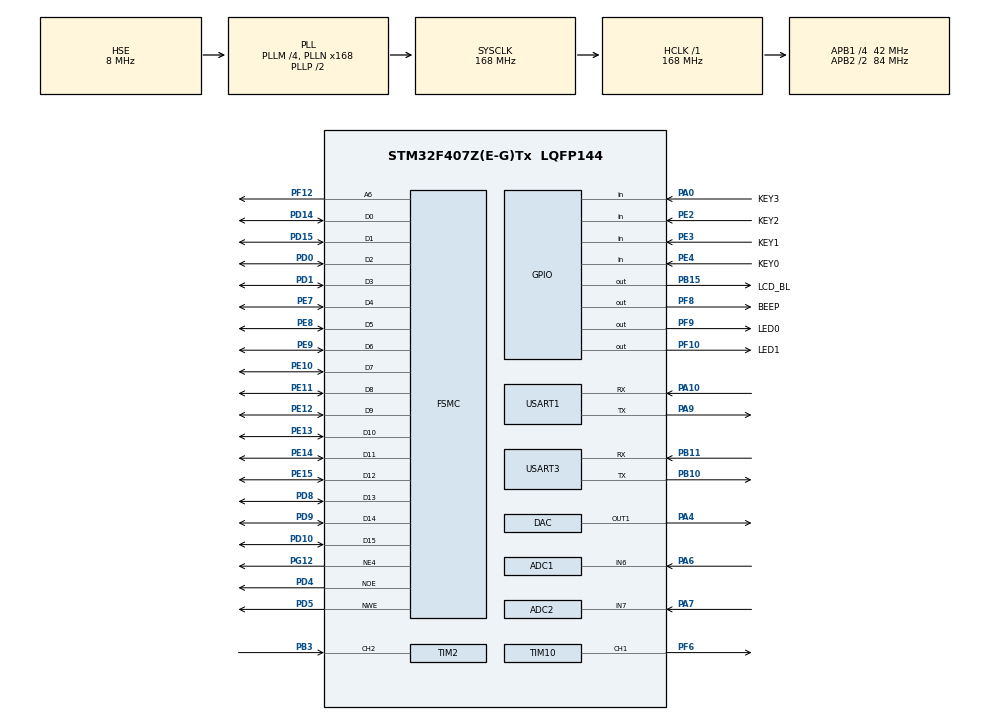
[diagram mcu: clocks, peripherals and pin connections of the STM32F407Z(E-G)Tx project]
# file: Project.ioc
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ADC1.Channel-0\#ChannelRegularConversion=ADC_CHANNEL_6
ADC1.ExternalTrigConv=ADC_EXTERNALTRIGCONV_T3_TRGO
ADC1.NbrOfConversionFlag=1
ADC1.Rank-0\#ChannelRegularConversion=1
ADC1.SamplingTime-0\#ChannelRegularConversion=ADC_SAMPLETIME_3CYCLES
ADC1.master=1
ADC2.Channel-0\#ChannelRegularConversion=ADC_CHANNEL_7
ADC2.ExternalTrigConv=ADC_EXTERNALTRIGCONV_T3_TRGO
ADC2.NbrOfConversionFlag=1
ADC2.Rank-0\#ChannelRegularConversion=1
ADC2.SamplingTime-0\#ChannelRegularConversion=ADC_SAMPLETIME_3CYCLES
DAC.DAC_Trigger=DAC_TRIGGER_T6_TRGO
Dma.ADC1.4.Direction=DMA_PERIPH_TO_MEMORY
Dma.ADC1.4.FIFOMode=DMA_FIFOMODE_DISABLE
Dma.ADC1.4.Instance=DMA2_Stream0
Dma.ADC1.4.MemDataAlignment=DMA_MDATAALIGN_HALFWORD
Dma.ADC1.4.MemInc=DMA_MINC_ENABLE
Dma.ADC1.4.Mode=DMA_NORMAL
Dma.ADC1.4.PeriphDataAlignment=DMA_PDATAALIGN_HALFWORD
Dma.ADC1.4.PeriphInc=DMA_PINC_DISABLE
Dma.ADC1.4.Priority=DMA_PRIORITY_LOW
Dma.ADC2.5.Direction=DMA_PERIPH_TO_MEMORY
Dma.ADC2.5.FIFOMode=DMA_FIFOMODE_DISABLE
Dma.ADC2.5.Instance=DMA2_Stream2
Dma.ADC2.5.MemDataAlignment=DMA_MDATAALIGN_HALFWORD
Dma.ADC2.5.MemInc=DMA_MINC_ENABLE
Dma.ADC2.5.Mode=DMA_NORMAL
Dma.ADC2.5.PeriphDataAlignment=DMA_PDATAALIGN_HALFWORD
Dma.ADC2.5.PeriphInc=DMA_PINC_DISABLE
Dma.ADC2.5.Priority=DMA_PRIORITY_LOW
Dma.DAC1.6.Direction=DMA_MEMORY_TO_PERIPH
Dma.DAC1.6.FIFOMode=DMA_FIFOMODE_DISABLE
Dma.DAC1.6.Instance=DMA1_Stream5
Dma.DAC1.6.MemDataAlignment=DMA_MDATAALIGN_HALFWORD
Dma.DAC1.6.MemInc=DMA_MINC_ENABLE
Dma.DAC1.6.Mode=DMA_CIRCULAR
Dma.DAC1.6.PeriphDataAlignment=DMA_PDATAALIGN_HALFWORD
Dma.DAC1.6.PeriphInc=DMA_PINC_DISABLE
Dma.DAC1.6.Priority=DMA_PRIORITY_LOW
Dma.Request0=USART1_TX
Dma.Request1=USART1_RX
Dma.Request2=USART3_TX
Dma.Request3=USART3_RX
Dma.Request4=ADC1
Dma.Request5=ADC2
Dma.Request6=DAC1
Dma.USART1_RX.1.Direction=DMA_PERIPH_TO_MEMORY
Dma.USART1_RX.1.FIFOMode=DMA_FIFOMODE_DISABLE
Dma.USART1_RX.1.Instance=DMA2_Stream5
Dma.USART1_RX.1.MemDataAlignment=DMA_MDATAALIGN_BYTE
Dma.USART1_RX.1.MemInc=DMA_MINC_ENABLE
Dma.USART1_RX.1.Mode=DMA_NORMAL
Dma.USART1_RX.1.PeriphDataAlignment=DMA_PDATAALIGN_BYTE
Dma.USART1_RX.1.PeriphInc=DMA_PINC_DISABLE
Dma.USART1_RX.1.Priority=DMA_PRIORITY_LOW
Dma.USART1_TX.0.Direction=DMA_MEMORY_TO_PERIPH
Dma.USART1_TX.0.FIFOMode=DMA_FIFOMODE_DISABLE
Dma.USART1_TX.0.Instance=DMA2_Stream7
Dma.USART1_TX.0.MemDataAlignment=DMA_MDATAALIGN_BYTE
Dma.USART1_TX.0.MemInc=DMA_MINC_ENABLE
Dma.USART1_TX.0.Mode=DMA_NORMAL
Dma.USART1_TX.0.PeriphDataAlignment=DMA_PDATAALIGN_BYTE
Dma.USART1_TX.0.PeriphInc=DMA_PINC_DISABLE
Dma.USART1_TX.0.Priority=DMA_PRIORITY_LOW
Dma.USART3_RX.3.Direction=DMA_PERIPH_TO_MEMORY
Dma.USART3_RX.3.FIFOMode=DMA_FIFOMODE_DISABLE
Dma.USART3_RX.3.Instance=DMA1_Stream1
Dma.USART3_RX.3.MemDataAlignment=DMA_MDATAALIGN_BYTE
Dma.USART3_RX.3.MemInc=DMA_MINC_ENABLE
Dma.USART3_RX.3.Mode=DMA_NORMAL
Dma.USART3_RX.3.PeriphDataAlignment=DMA_PDATAALIGN_BYTE
Dma.USART3_RX.3.PeriphInc=DMA_PINC_DISABLE
Dma.USART3_RX.3.Priority=DMA_PRIORITY_LOW
Dma.USART3_TX.2.Direction=DMA_MEMORY_TO_PERIPH
Dma.USART3_TX.2.FIFOMode=DMA_FIFOMODE_DISABLE
Dma.USART3_TX.2.Instance=DMA1_Stream3
Dma.USART3_TX.2.MemDataAlignment=DMA_MDATAALIGN_BYTE
Dma.USART3_TX.2.MemInc=DMA_MINC_ENABLE
Dma.USART3_TX.2.Mode=DMA_NORMAL
Dma.USART3_TX.2.PeriphDataAlignment=DMA_PDATAALIGN_BYTE
Dma.USART3_TX.2.PeriphInc=DMA_PINC_DISABLE
Dma.USART3_TX.2.Priority=DMA_PRIORITY_LOW
FSMC.ExtendedAddressSetupTime1=2
FSMC.ExtendedDataSetupTime1=2
FSMC.ExtendedMode1=FSMC_EXTENDED_MODE_ENABLE
Mcu.Family=STM32F4
Mcu.Name=STM32F407Z(E-G)Tx
Mcu.Package=LQFP144
NVIC.DMA1_Stream1_IRQn=true\:0\:0\:false\:false\:true\:false\:true\:true
NVIC.DMA1_Stream3_IRQn=true\:0\:0\:false\:false\:true\:false\:true\:true
NVIC.DMA1_Stream5_IRQn=true\:0\:0\:false\:false\:true\:false\:true\:true
NVIC.DMA2_Stream0_IRQn=true\:0\:0\:false\:false\:true\:false\:true\:true
NVIC.DMA2_Stream2_IRQn=true\:0\:0\:false\:false\:true\:false\:true\:true
NVIC.DMA2_Stream5_IRQn=true\:0\:0\:false\:false\:true\:false\:true\:true
NVIC.DMA2_Stream7_IRQn=true\:0\:0\:false\:false\:true\:false\:true\:true
NVIC.PriorityGroup=NVIC_PRIORITYGROUP_4
NVIC.TIM1_TRG_COM_TIM11_IRQn=true\:0\:0\:false\:false\:true\:true\:true\:true
NVIC.USART1_IRQn=true\:0\:0\:false\:false\:true\:false\:true\:true
NVIC.USART3_IRQn=true\:0\:0\:false\:false\:true\:false\:true\:true
PA0-WKUP.GPIO_Label=KEY3
PA0-WKUP.GPIO_PuPd=GPIO_PULLDOWN
PA0-WKUP.Signal=GPIO_Input
PA10.Mode=Asynchronous
PA10.Signal=USART1_RX
PA13.Mode=Serial_Wire
PA13.Signal=SYS_JTMS-SWDIO
PA14.Mode=Serial_Wire
PA14.Signal=SYS_JTCK-SWCLK
PA4.Signal=COMP_DAC1_group
PA6.Signal=ADCx_IN6
PA7.Signal=ADCx_IN7
PA9.Mode=Asynchronous
PA9.Signal=USART1_TX
PB10.Mode=Asynchronous
PB10.Signal=USART3_TX
PB11.Mode=Asynchronous
PB11.Signal=USART3_RX
PB15.GPIO_Label=LCD_BL
PB15.Signal=GPIO_Output
PB3.Signal=S_TIM2_CH2
PD0.Signal=FSMC_D2_DA2
PD1.Signal=FSMC_D3_DA3
PD10.Signal=FSMC_D15_DA15
PD14.Signal=FSMC_D0_DA0
PD15.Signal=FSMC_D1_DA1
PD4.Signal=FSMC_NOE
PD5.Signal=FSMC_NWE
PD8.Signal=FSMC_D13_DA13
PD9.Signal=FSMC_D14_DA14
PE10.Signal=FSMC_D7_DA7
PE11.Signal=FSMC_D8_DA8
PE12.Signal=FSMC_D9_DA9
PE13.Signal=FSMC_D10_DA10
PE14.Signal=FSMC_D11_DA11
PE15.Signal=FSMC_D12_DA12
PE2.GPIO_Label=KEY2
PE2.GPIO_PuPd=GPIO_PULLUP
PE2.Signal=GPIO_Input
PE3.GPIO_Label=KEY1
PE3.GPIO_PuPd=GPIO_PULLUP
PE3.Signal=GPIO_Input
PE4.GPIO_Label=KEY0
PE4.GPIO_PuPd=GPIO_PULLUP
PE4.Signal=GPIO_Input
PE7.Signal=FSMC_D4_DA4
PE8.Signal=FSMC_D5_DA5
PE9.Signal=FSMC_D6_DA6
PF10.GPIO_Label=LED1
PF10.PinState=GPIO_PIN_SET
PF10.Signal=GPIO_Output
PF12.Signal=FSMC_A6
PF6.Signal=S_TIM10_CH1
PF8.GPIO_Label=BEEP
PF8.Signal=GPIO_Output
PF9.GPIO_Label=LED0
PF9.PinState=GPIO_PIN_SET
PF9.Signal=GPIO_Output
PG12.Mode=NorPsramChipSelect4_1
PG12.Signal=FSMC_NE4
PH0-OSC_IN.Mode=HSE-External-Oscillator
PH0-OSC_IN.Signal=RCC_OSC_IN
PH1-OSC_OUT.Mode=HSE-External-Oscillator
PH1-OSC_OUT.Signal=RCC_OSC_OUT
ProjectManager.HeapSize=0x200
ProjectManager.StackSize=0x400
ProjectManager.TargetToolchain=MDK-ARM V5.32
RCC.48MHZClocksFreq_Value=84000000
RCC.AHBFreq_Value=168000000
RCC.APB1CLKDivider=RCC_HCLK_DIV4
RCC.APB1Freq_Value=42000000
RCC.APB1TimFreq_Value=84000000
RCC.APB2CLKDivider=RCC_HCLK_DIV2
RCC.APB2Freq_Value=84000000
RCC.APB2TimFreq_Value=168000000
RCC.CortexFreq_Value=168000000
RCC.HCLKFreq_Value=168000000
RCC.HSE_VALUE=8000000
RCC.HSI_VALUE=16000000
RCC.LSE_VALUE=32768
RCC.PLLM=4
RCC.PLLN=168
RCC.PLLSourceVirtual=RCC_PLLSOURCE_HSE
RCC.SYSCLKFreq_VALUE=168000000
RCC.SYSCLKSource=RCC_SYSCLKSOURCE_PLLCLK
RCC.VCOOutputFreq_Value=336000000
SH.ADCx_IN6.0=ADC1_IN6,IN6
SH.ADCx_IN7.0=ADC2_IN7,IN7
SH.COMP_DAC1_group.0=DAC_OUT1,DAC_OUT1
SH.FSMC_A6.0=FSMC_A6,A6_1
SH.FSMC_D0_DA0.0=FSMC_D0,16b-d1
SH.FSMC_D10_DA10.0=FSMC_D10,16b-d1
SH.FSMC_D11_DA11.0=FSMC_D11,16b-d1
SH.FSMC_D12_DA12.0=FSMC_D12,16b-d1
SH.FSMC_D13_DA13.0=FSMC_D13,16b-d1
SH.FSMC_D14_DA14.0=FSMC_D14,16b-d1
SH.FSMC_D15_DA15.0=FSMC_D15,16b-d1
SH.FSMC_D1_DA1.0=FSMC_D1,16b-d1
SH.FSMC_D2_DA2.0=FSMC_D2,16b-d1
SH.FSMC_D3_DA3.0=FSMC_D3,16b-d1
SH.FSMC_D4_DA4.0=FSMC_D4,16b-d1
SH.FSMC_D5_DA5.0=FSMC_D5,16b-d1
SH.FSMC_D6_DA6.0=FSMC_D6,16b-d1
SH.FSMC_D7_DA7.0=FSMC_D7,16b-d1
SH.FSMC_D8_DA8.0=FSMC_D8,16b-d1
SH.FSMC_D9_DA9.0=FSMC_D9,16b-d1
SH.FSMC_NOE.0=FSMC_NOE,Lcd1
SH.FSMC_NWE.0=FSMC_NWE,Lcd1
SH.S_TIM10_CH1.0=TIM10_CH1,PWM Generation1 CH1
SH.S_TIM2_CH2.0=TIM2_CH2,PWM_Input_2
TIM10.Channel=TIM_CHANNEL_1
TIM10.Period=1999
TIM10.Prescaler=167
TIM11.Channel=TIM_CHANNEL_1
TIM11.Period=9999
TIM11.Prescaler=167
TIM2.ICPolarity_1=TIM_INPUTCHANNELPOLARITY_FALLING
TIM2.Prescaler=83
TIM3.Period=99
TIM3.Prescaler=83
TIM3.TIM_MasterOutputTrigger=TIM_TRGO_UPDATE
TIM6.AutoReloadPreload=TIM_AUTORELOAD_PRELOAD_ENABLE
TIM6.Period=999
TIM6.Prescaler=13
TIM6.TIM_MasterOutputTrigger=TIM_TRGO_UPDATE
USART1.VirtualMode=VM_ASYNC
USART3.VirtualMode=VM_ASYNC
VP_TIM10_VS_ClockSourceINT.Mode=Enable_Timer
VP_TIM11_VS_ClockSourceINT.Mode=Enable_Timer
VP_TIM11_VS_no_output1.Mode=Output Compare1 No Output
VP_TIM2_VS_ClockSourceINT.Mode=Internal
VP_TIM3_VS_ClockSourceINT.Mode=Internal
VP_TIM6_VS_ClockSourceINT.Mode=Enable_Timer
board=custom

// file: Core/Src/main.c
/* USER CODE BEGIN Header */
/**
  ******************************************************************************
  * @file           : main.c
  * @brief          : Main program body
  ******************************************************************************
  * @attention
  *
  * Copyright (c) 2024 STMicroelectronics.
  * All rights reserved.
  *
  * This software is licensed under terms that can be found in the LICENSE file
  * in the root directory of this software component.
  * If no LICENSE file comes with this software, it is provided AS-IS.
  *
  ******************************************************************************
  */
/* USER CODE END Header */
#include "main.h"
#include "adc.h"
#include "dac.h"
#include "dma.h"
#include "tim.h"
#include "usart.h"
#include "gpio.h"
#include "fsmc.h"

/* USER CODE BEGIN Includes */
#include "lcd.h"

/* USER CODE END Includes */

/* USER CODE BEGIN PD */
#define VREF			3300

/* USER CODE END PD */

/* USER CODE BEGIN PV */
uint8_t workState = 0;
uint16_t workCnt = 0;
myUART_HandleTypeDef UART_Debug = { .huart = &huart1, .RxMsgUsed = true };
myUART_HandleTypeDef UART_Slave = { .huart = &huart3, .RxMsgUsed = true };
myPWM_HandleTypeDef myPWM = { .htim = &htim10, .Channel = TIM_CHANNEL_1, .idx = 0 };
myPWMI_HandleTypeDef myPWMI = { .htim = &htim2, .Channel = TIM_CHANNEL_2 };
myADC_HandleTypeDef myADC = { .hadc_ch1 = &hadc2, .hadc_ch2 = &hadc1, .htim = &htim3, .ConvFinish = false };
myDAC_HandleTypeDef myDAC = { .hdac = &hdac, .htim = &htim6, .Channel = DAC_CHANNEL_1, .idx = 0 };

/* USER CODE END PV */

void SystemClock_Config(void);
/* USER CODE BEGIN PFP */
void Key_Process(uint8_t keyNum);
void ADC_Process(void);

/* USER CODE END PFP */

/* USER CODE BEGIN 0 */
void HAL_UARTEx_RxEventCallback(UART_HandleTypeDef *huart, uint16_t Size)
{
	if (huart == UART_Debug.huart)
	{
		if (UART_Debug.RxMsgUsed == true)
		{
			myUART_Receive_DMA(&UART_Debug);
			if (workState != 6)
				myUART_Transmit_DMA(&UART_Debug, "RxMsg: %s", UART_Debug.UART_RxMsg);
			else /* if (workState == 6) */
			{
				LCD_ClearArea(40, 200, 720, 120, WHITE);
				LCD_ShowString(40, 200, 32, BLACK, WHITE, "RxMsg_UART1: %s", UART_Debug.UART_RxMsg);
			}
		}
		myUART_Start_Receive_DMA(&UART_Debug);
	}
	else if (workState == 6 && huart == UART_Slave.huart)
	{
		if (UART_Slave.RxMsgUsed == true)
		{
			myUART_Receive_DMA(&UART_Slave);
			LCD_ClearArea(40, 200, 720, 120, WHITE);
			LCD_ShowString(40, 200, 32, BLACK, WHITE, "RxMsg_UART3: %s", UART_Slave.UART_RxMsg);
		}
		myUART_Start_Receive_DMA(&UART_Slave);
	}
}

void HAL_TIM_PeriodElapsedCallback(TIM_HandleTypeDef *htim)
{
	if (htim == &htim11)
	{
		Key_Process(Key_Read());
	}
}

void HAL_ADC_ConvCpltCallback(ADC_HandleTypeDef *hadc)
{
	static uint8_t tmp_adc_conv_cplt = 0;
	if (++tmp_adc_conv_cplt == 2)
	{
		tmp_adc_conv_cplt = 0;
		myADC.ConvFinish = true;
		myADC_Stop_DMA(&myADC);
	}
}

/* USER CODE END 0 */

int main(void)
{

  /* MCU Configuration--------------------------------------------------------*/

  /* Reset of all peripherals, Initializes the Flash interface and the Systick. */
  HAL_Init();

  /* Configure the system clock */
  SystemClock_Config();

  /* Initialize all configured peripherals */
  MX_GPIO_Init();
  MX_DMA_Init();
  MX_FSMC_Init();
  MX_USART1_UART_Init();
  MX_USART3_UART_Init();
  MX_TIM11_Init();
  MX_TIM10_Init();
  MX_TIM2_Init();
  MX_TIM3_Init();
  MX_TIM6_Init();
  MX_ADC1_Init();
  MX_ADC2_Init();
  MX_DAC_Init();
  /* USER CODE BEGIN 2 */
  LCD_Init();
  LCD_ShowString(40, 80, 32, RED, WHITE, "Wait to confirm: workState = %d.", workState);
  LCD_ShowString(40, 120, 32, WHITE, ORANGE, " KEY0         KEY1           KEY2 ");
  LCD_ShowString(136, 120, 32, ORANGE, WHITE, " CHECK ");
  LCD_ShowString(344, 120, 32, ORANGE, WHITE, " STATE++ ");
  LCD_ShowString(584, 120, 32, ORANGE, WHITE, " STATE-- ");

  myUART_Transmit_DMA(&UART_Debug, "F407ZGT6 UART1 connected.\n");
  myUART_Start_Receive_DMA(&UART_Debug);

  HAL_TIM_Base_Start_IT(&htim11);

  /* USER CODE END 2 */

  /* Infinite loop */
  /* USER CODE BEGIN WHILE */
  while (1)
  {
	if (myADC.ConvFinish == true)
	{
		myADC.ConvFinish = false;
		ADC_Process();
	}

    /* USER CODE END WHILE */

  }
}

void SystemClock_Config(void)
{
  RCC_OscInitTypeDef RCC_OscInitStruct = {0};
  RCC_ClkInitTypeDef RCC_ClkInitStruct = {0};

  /** Configure the main internal regulator output voltage
  */
  __HAL_RCC_PWR_CLK_ENABLE();
  __HAL_PWR_VOLTAGESCALING_CONFIG(PWR_REGULATOR_VOLTAGE_SCALE1);

  /** Initializes the RCC Oscillators according to the specified parameters
  * in the RCC_OscInitTypeDef structure.
  */
  RCC_OscInitStruct.OscillatorType = RCC_OSCILLATORTYPE_HSE;
  RCC_OscInitStruct.HSEState = RCC_HSE_ON;
  RCC_OscInitStruct.PLL.PLLState = RCC_PLL_ON;
  RCC_OscInitStruct.PLL.PLLSource = RCC_PLLSOURCE_HSE;
  RCC_OscInitStruct.PLL.PLLM = 4;
  RCC_OscInitStruct.PLL.PLLN = 168;
  RCC_OscInitStruct.PLL.PLLP = RCC_PLLP_DIV2;
  RCC_OscInitStruct.PLL.PLLQ = 4;
  if (HAL_RCC_OscConfig(&RCC_OscInitStruct) != HAL_OK)
  {
    Error_Handler();
  }

  /** Initializes the CPU, AHB and APB buses clocks
  */
  RCC_ClkInitStruct.ClockType = RCC_CLOCKTYPE_HCLK|RCC_CLOCKTYPE_SYSCLK
                              |RCC_CLOCKTYPE_PCLK1|RCC_CLOCKTYPE_PCLK2;
  RCC_ClkInitStruct.SYSCLKSource = RCC_SYSCLKSOURCE_PLLCLK;
  RCC_ClkInitStruct.AHBCLKDivider = RCC_SYSCLK_DIV1;
  RCC_ClkInitStruct.APB1CLKDivider = RCC_HCLK_DIV4;
  RCC_ClkInitStruct.APB2CLKDivider = RCC_HCLK_DIV2;

  if (HAL_RCC_ClockConfig(&RCC_ClkInitStruct, FLASH_LATENCY_5) != HAL_OK)
  {
    Error_Handler();
  }
}

/* USER CODE BEGIN 4 */
void Key_Process(uint8_t keyNum)
{
	static uint8_t tmp_work_state = 0;
	static bool tmp_adc_auto = false;
	if (workState == 0)
	{
		if (keyNum == 1 && tmp_work_state < 6 || keyNum == 2 && tmp_work_state > 1)
		{
			if (keyNum == 1) tmp_work_state++;
			if (keyNum == 2) tmp_work_state--;
			LCD_ShowString(40, 80, 32, RED, WHITE, "Wait to confirm: workState = %d.", tmp_work_state);
		}
		if (keyNum == 0 && tmp_work_state)
		{
			LCD_ShowString(40, 80, 32, BLACK, WHITE, "Already confirm: workState = %d.", workState = tmp_work_state);
			if (workState < 4)
			{
				LCD_ShowString(40, 120, 32, WHITE, ORANGE, " KEY3 ");
				LCD_ShowString(136, 120, 32, ORANGE, WHITE, " QUIT                                 ");
			}
			else if (workState == 4)
			{
				myPWM_Start(&myPWM), myPWMI_Start(&myPWMI);
				LCD_ShowString(40, 120, 32, BLUE, WHITE, "PinDef: PWM(PF6), PWMI(PB3).               ");
				LCD_ShowString(40, 160, 32, BLACK, WHITE, "PWM:  setPulse = 0 us.   ");
				LCD_ShowString(40, 280, 32, WHITE, ORANGE, " KEY0       KEY3 ");
				LCD_ShowString(136, 280, 32, ORANGE, WHITE, " PWM ");
				LCD_ShowString(312, 280, 32, ORANGE, WHITE, " QUIT ");
			}
			else if (workState == 5)
			{
				myDAC_Start_DMA(&myDAC);
				LCD_ShowString(40, 120, 32, BLUE, WHITE, "PinDef: ADC-DC(PA7), ADC-AC(PA6), DAC(PA4).");
				LCD_ShowString(40, 160, 32, BLACK, WHITE, "DAC: setFreq = 50 Hz.");
				LCD_ShowString(40, 200, 32, BLACK, WHITE, "ADC Results:");
				LCD_ShowString(40, 240, 32, BLACK, WHITE, "DC (8b):     N/A mV  |  AC (1k):     N/A mV");
				LCD_ShowString(40, 280, 32, BLACK, WHITE, "DC (12b):    N/A mV  |  AC (10k):    N/A mV");
				LCD_ShowString(440, 160, 32, WHITE, ORANGE, " K3 ");
				LCD_ShowString(504, 160, 32, ORANGE, WHITE, " QUIT ");
				LCD_ShowString(248, 200, 32, WHITE, ORANGE, " K0          K1        K2 ");
				LCD_ShowString(312, 200, 32, ORANGE, WHITE, " SINGLE ");
				LCD_ShowString(504, 200, 32, ORANGE, WHITE, " AUTO ");
				LCD_ShowString(664, 200, 32, ORANGE, WHITE, " DAC ");
			}
			else if (workState == 6)
			{
				myUART_Start_Receive_DMA(&UART_Slave);
				LCD_ShowString(40, 120, 32, BLUE, WHITE, "PinDef: Master(UART1), Slave(UART3).       ");
				LCD_ShowString(40, 160, 32, WHITE, ORANGE, " K0        K1        K2       K3 ");
				LCD_ShowString(104, 160, 32, ORANGE, WHITE, " MTSR ");
				LCD_ShowString(264, 160, 32, ORANGE, WHITE, " MRST ");
				LCD_ShowString(424, 160, 32, ORANGE, WHITE, " CLR ");
				LCD_ShowString(568, 160, 32, ORANGE, WHITE, " QUIT ");
			}
		}
	}
	else if (keyNum == 3)
	{
		LED0_Off, LED1_Off, BEEP_Off;
		if (workState == 4) myPWM_Stop(&myPWM), myPWMI_Stop(&myPWMI), myPWM.idx = 0;
		else if (workState == 5) myDAC_Stop_DMA(&myDAC), myDAC.idx = 0;
		LCD_ShowString(40, 80, 32, RED, WHITE, "Wait to confirm: workState = %d.", workState);
		LCD_ShowString(40, 120, 32, WHITE, ORANGE, " KEY0         KEY1           KEY2 ");
		LCD_ShowString(136, 120, 32, ORANGE, WHITE, " CHECK ");
		LCD_ShowString(344, 120, 32, ORANGE, WHITE, " STATE++ ");
		LCD_ShowString(584, 120, 32, ORANGE, WHITE, " STATE-- ");
		LCD_ClearArea(40, 160, 720, 160, WHITE);
		tmp_work_state = workState, workState = 0, workCnt = 0;
	}
	else if (workState == 1)
	{
		if (workCnt && ++workCnt > 200) workCnt = 0, BEEP_Off;
		if (workCnt == 0 && KEY0_Trigger) workCnt = 1, BEEP_On;
	}
	else if (workState == 2)
	{
		if (++workCnt == 600) workCnt = 0;
		LED0_Set(workCnt / 100 % 2);
		LED1_Set(workCnt / 15 % 2);
	}
	else if (workState == 3)
	{
		if (KEY0_Trigger) BEEP_On, LED1_Set(++workCnt / 25 % 2);
		else workCnt = 0, LED1_Off, BEEP_Off;
	}
	else if (workState == 4)
	{
		if (++workCnt == 10)
		{
			workCnt = 0, LED0_Toggle;
			LCD_ShowString(40, 200, 32, BLACK, WHITE, "PWMI: getPulse = %d us.         ", myPWMI_GetPulse(&myPWMI) + 1);
			LCD_ShowString(40, 240, 32, BLACK, WHITE, "PWMI: getPeriod = %d us.         ", myPWMI_GetPeriod(&myPWMI) + 1);
		}
		if (keyNum == 0)
		{
			LCD_ShowString(40, 160, 32, BLACK, WHITE, "PWM:  setPulse = %d us.  ", PWM_Pulse[myPWM.idx = (myPWM.idx + 1) % 3]);
			myPWM_SetPulse(&myPWM);
		}
	}
	else if (workState == 5)
	{
		if (keyNum == 0) tmp_adc_auto = false;
		if (++workCnt == 10)
		{
			workCnt = 0, LED0_Toggle;
			if (tmp_adc_auto) myADC_Start_DMA(&myADC);
		}
		if (keyNum == 0) myADC_Start_DMA(&myADC);
		else if (keyNum == 1) tmp_adc_auto = !tmp_adc_auto;
		else if (keyNum == 2)
		{
			switch (myDAC.idx = (myDAC.idx + 1) % 7)
			{
				case 0: LCD_ShowString(40, 160, 32, BLACK, WHITE, "DAC: setFreq = 50 Hz. "); break;
				case 1: LCD_ShowString(40, 160, 32, BLACK, WHITE, "DAC: setFreq = 100 Hz."); break;
				case 2: LCD_ShowString(40, 160, 32, BLACK, WHITE, "DAC: setFreq = 500 Hz."); break;
				case 3: LCD_ShowString(40, 160, 32, BLACK, WHITE, "DAC: setFreq = 1 kHz. "); break;
				case 4: LCD_ShowString(40, 160, 32, BLACK, WHITE, "DAC: setFreq = 5 kHz. "); break;
				case 5: LCD_ShowString(40, 160, 32, BLACK, WHITE, "DAC: setFreq = 10 kHz."); break;
				case 6: LCD_ShowString(40, 160, 32, BLACK, WHITE, "DAC: setFreq = 50 kHz."); break;
			}
			myDAC_SetFreq(&myDAC);
		}
	}
	else if (workState == 6)
	{
		if (keyNum == 0) LED0_Toggle, myUART_Transmit_DMA(&UART_Debug, "TxMsg sent by master(UART1).\n");
		else if (keyNum == 1) LED1_Toggle, myUART_Transmit_DMA(&UART_Slave, "TxMsg sent by slave(UART3).\n");
		else if (keyNum == 2) LCD_ClearArea(40, 200, 720, 120, WHITE);
	}
}

void ADC_Process(void)
{
	uint16_t tmp_adc_data_1 = 0;
	uint16_t tmp_adc_data_2 = 0;
	for (uint16_t i = 0; i < 10; ++i)
	{
		tmp_adc_data_1 += myADC.ADC_Data1[i] >> 4;
		tmp_adc_data_2 += myADC.ADC_Data1[i];
	}

	uint16_t tmp_adc_data_min_1 = 0xFFF;
	uint16_t tmp_adc_data_max_1 = 0x000;
	uint16_t tmp_adc_data_min_2 = 0xFFF;
	uint16_t tmp_adc_data_max_2 = 0x000;
	for (uint16_t i = 0; i < ADC_DataSize; ++i)
	{
		if (i % 10 == 0)
		{
			if (tmp_adc_data_min_1 > myADC.ADC_Data2[i]) tmp_adc_data_min_1 = myADC.ADC_Data2[i];
			if (tmp_adc_data_max_1 < myADC.ADC_Data2[i]) tmp_adc_data_max_1 = myADC.ADC_Data2[i];
		}
		if (tmp_adc_data_min_2 > myADC.ADC_Data2[i]) tmp_adc_data_min_2 = myADC.ADC_Data2[i];
		if (tmp_adc_data_max_2 < myADC.ADC_Data2[i]) tmp_adc_data_max_2 = myADC.ADC_Data2[i];
	}

	LCD_ShowString(40, 240, 32, BLACK, WHITE, "DC (8b):  %6.1f mV  |  AC (1k):  %6.1f mV",
		(float)tmp_adc_data_1 * VREF / (10 * 0xFF),
		(float)(tmp_adc_data_max_1 - tmp_adc_data_min_1) * VREF / 0xFFF
	);
	LCD_ShowString(40, 280, 32, BLACK, WHITE, "DC (12b): %6.1f mV  |  AC (10k): %6.1f mV",
		(float)tmp_adc_data_2 * VREF / (10 * 0xFFF),
		(float)(tmp_adc_data_max_2 - tmp_adc_data_min_2) * VREF / 0xFFF
	);
}

/* USER CODE END 4 */

void Error_Handler(void)
{
  __disable_irq();
  while (1)
  {
  }
}
